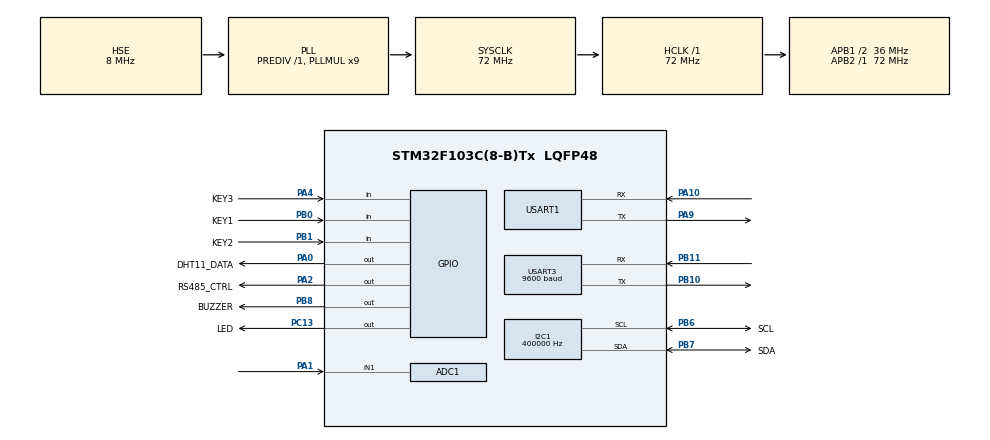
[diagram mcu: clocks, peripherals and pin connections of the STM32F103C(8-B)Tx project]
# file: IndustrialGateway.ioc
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ADC1.Channel-2\#ChannelRegularConversion=ADC_CHANNEL_1
ADC1.NbrOfConversionFlag=1
ADC1.Rank-2\#ChannelRegularConversion=1
ADC1.SamplingTime-2\#ChannelRegularConversion=ADC_SAMPLETIME_239CYCLES_5
ADC1.master=1
Dma.Request0=USART1_RX
Dma.Request1=USART1_TX
Dma.Request2=USART3_RX
Dma.USART1_RX.0.Direction=DMA_PERIPH_TO_MEMORY
Dma.USART1_RX.0.Instance=DMA1_Channel5
Dma.USART1_RX.0.MemDataAlignment=DMA_MDATAALIGN_BYTE
Dma.USART1_RX.0.MemInc=DMA_MINC_ENABLE
Dma.USART1_RX.0.Mode=DMA_CIRCULAR
Dma.USART1_RX.0.PeriphDataAlignment=DMA_PDATAALIGN_BYTE
Dma.USART1_RX.0.PeriphInc=DMA_PINC_DISABLE
Dma.USART1_RX.0.Priority=DMA_PRIORITY_LOW
Dma.USART1_TX.1.Direction=DMA_MEMORY_TO_PERIPH
Dma.USART1_TX.1.Instance=DMA1_Channel4
Dma.USART1_TX.1.MemDataAlignment=DMA_MDATAALIGN_BYTE
Dma.USART1_TX.1.MemInc=DMA_MINC_ENABLE
Dma.USART1_TX.1.Mode=DMA_NORMAL
Dma.USART1_TX.1.PeriphDataAlignment=DMA_PDATAALIGN_BYTE
Dma.USART1_TX.1.PeriphInc=DMA_PINC_DISABLE
Dma.USART1_TX.1.Priority=DMA_PRIORITY_LOW
Dma.USART3_RX.2.Direction=DMA_PERIPH_TO_MEMORY
Dma.USART3_RX.2.Instance=DMA1_Channel3
Dma.USART3_RX.2.MemDataAlignment=DMA_MDATAALIGN_BYTE
Dma.USART3_RX.2.MemInc=DMA_MINC_ENABLE
Dma.USART3_RX.2.Mode=DMA_NORMAL
Dma.USART3_RX.2.PeriphDataAlignment=DMA_PDATAALIGN_BYTE
Dma.USART3_RX.2.PeriphInc=DMA_PINC_DISABLE
Dma.USART3_RX.2.Priority=DMA_PRIORITY_LOW
FREERTOS.Tasks01=defaultTask,0,128,StartDefaultTask,Default,NULL,Dynamic,NULL,NULL;SensorTask,-1,512,StartSensorTask,Default,NULL,Dynamic,NULL,NULL;ModbusTask,1,384,StartModbusTask,Default,NULL,Dynamic,NULL,NULL;AlarmTask,2,256,StartAlarmTask,Default,NULL,Dynamic,NULL,NULL;DisplayTask,-2,512,StartDisplayTask,Default,NULL,Dynamic,NULL,NULL;KeyScanTask,-2,128,StartKeyScanTask,Default,NULL,Dynamic,NULL,NULL;LogTask,-2,128,StartLogTask,Default,NULL,Dynamic,NULL,NULL
FREERTOS.configTOTAL_HEAP_SIZE=12000
I2C1.ClockSpeed=400000
I2C1.I2C_Mode=I2C_Fast
Mcu.Family=STM32F1
Mcu.Name=STM32F103C(8-B)Tx
Mcu.Package=LQFP48
NVIC.DMA1_Channel3_IRQn=true\:5\:0\:false\:false\:true\:true\:false\:true\:true
NVIC.DMA1_Channel4_IRQn=true\:5\:0\:false\:false\:true\:true\:false\:true\:true
NVIC.DMA1_Channel5_IRQn=true\:5\:0\:false\:false\:true\:true\:false\:true\:true
NVIC.PriorityGroup=NVIC_PRIORITYGROUP_4
NVIC.TIM4_IRQn=true\:15\:0\:false\:false\:true\:false\:false\:true\:true
NVIC.TimeBase=TIM4_IRQn
NVIC.TimeBaseIP=TIM4
NVIC.USART3_IRQn=true\:5\:0\:false\:false\:true\:true\:true\:true\:true
PA0-WKUP.GPIO_Label=DHT11_DATA
PA0-WKUP.GPIO_ModeDefaultOutputPP=GPIO_MODE_OUTPUT_OD
PA0-WKUP.GPIO_PuPd=GPIO_PULLUP
PA0-WKUP.GPIO_Speed=GPIO_SPEED_FREQ_LOW
PA0-WKUP.PinState=GPIO_PIN_SET
PA0-WKUP.Signal=GPIO_Output
PA1.Signal=ADCx_IN1
PA10.Mode=Asynchronous
PA10.Signal=USART1_RX
PA13.Mode=Serial_Wire
PA13.Signal=SYS_JTMS-SWDIO
PA14.Mode=Serial_Wire
PA14.Signal=SYS_JTCK-SWCLK
PA2.GPIO_Label=RS485_CTRL
PA2.Signal=GPIO_Output
PA4.GPIO_Label=KEY3
PA4.GPIO_PuPd=GPIO_PULLUP
PA4.Signal=GPIO_Input
PA9.Mode=Asynchronous
PA9.Signal=USART1_TX
PB0.GPIO_Label=KEY1
PB0.GPIO_PuPd=GPIO_PULLUP
PB0.Signal=GPIO_Input
PB1.GPIO_Label=KEY2
PB1.GPIO_PuPd=GPIO_PULLUP
PB1.Signal=GPIO_Input
PB10.Mode=Asynchronous
PB10.Signal=USART3_TX
PB11.Mode=Asynchronous
PB11.Signal=USART3_RX
PB6.GPIO_Label=SCL
PB6.Mode=I2C
PB6.Signal=I2C1_SCL
PB7.GPIO_Label=SDA
PB7.Mode=I2C
PB7.Signal=I2C1_SDA
PB8.GPIO_Label=BUZZER
PB8.PinState=GPIO_PIN_SET
PB8.Signal=GPIO_Output
PC13-TAMPER-RTC.GPIO_Label=LED
PC13-TAMPER-RTC.PinState=GPIO_PIN_RESET
PC13-TAMPER-RTC.Signal=GPIO_Output
PD0-OSC_IN.Mode=HSE-External-Oscillator
PD0-OSC_IN.Signal=RCC_OSC_IN
PD1-OSC_OUT.Mode=HSE-External-Oscillator
PD1-OSC_OUT.Signal=RCC_OSC_OUT
ProjectManager.HeapSize=0x200
ProjectManager.StackSize=0x400
ProjectManager.TargetToolchain=STM32CubeIDE
RCC.ADCPresc=RCC_ADCPCLK2_DIV6
RCC.AHBFreq_Value=72000000
RCC.APB1CLKDivider=RCC_HCLK_DIV2
RCC.APB1Freq_Value=36000000
RCC.APB1TimFreq_Value=72000000
RCC.APB2Freq_Value=72000000
RCC.APB2TimFreq_Value=72000000
RCC.HCLKFreq_Value=72000000
RCC.PLLMUL=RCC_PLL_MUL9
RCC.PLLSourceVirtual=RCC_PLLSOURCE_HSE
RCC.SYSCLKFreq_VALUE=72000000
RCC.SYSCLKSource=RCC_SYSCLKSOURCE_PLLCLK
RCC.USBFreq_Value=72000000
SH.ADCx_IN1.0=ADC1_IN1,IN1
USART1.VirtualMode=VM_ASYNC
USART3.BaudRate=9600
USART3.VirtualMode=VM_ASYNC
VP_FREERTOS_VS_CMSIS_V1.Mode=CMSIS_V1
VP_SYS_VS_tim4.Mode=TIM4
board=custom

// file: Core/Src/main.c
/* USER CODE BEGIN Header */
/**
  ******************************************************************************
  * @file           : main.c
  * @brief          : Main program body
  ******************************************************************************
  * @attention
  *
  * Copyright (c) 2026 STMicroelectronics.
  * All rights reserved.
  *
  * This software is licensed under terms that can be found in the LICENSE file
  * in the root directory of this software component.
  * If no LICENSE file comes with this software, it is provided AS-IS.
  *
  ******************************************************************************
  */
/* USER CODE END Header */
#include "main.h"
#include "cmsis_os.h"
#include "adc.h"
#include "dma.h"
#include "i2c.h"
#include "usart.h"
#include "gpio.h"
#include "debug_log.h"
/* USER CODE BEGIN Includes */
#include "drv_uart_dma.h"
/* USER CODE END Includes */

void SystemClock_Config(void);
void MX_FREERTOS_Init(void);

int main(void)
{

  /* MCU Configuration--------------------------------------------------------*/

  /* Reset of all peripherals, Initializes the Flash interface and the Systick. */
  HAL_Init();

  /* Configure the system clock */
  SystemClock_Config();

  /* Initialize all configured peripherals */
  MX_GPIO_Init();
  MX_DMA_Init();
  MX_ADC1_Init();
  MX_USART1_UART_Init();
  Debug_Log_Init();
  HAL_Delay(1000);
  MX_I2C1_Init();
  MX_USART3_UART_Init();
  /* USER CODE BEGIN 2 */
  HAL_GPIO_WritePin(GPIOA, GPIO_PIN_2, GPIO_PIN_RESET);
  drv_uart3_dma_init();
  /* USER CODE END 2 */

  /* Call init function for freertos objects (in cmsis_os2.c) */
  MX_FREERTOS_Init();

  /* Start scheduler */
  osKernelStart();

  /* We should never get here as control is now taken by the scheduler */

  /* Infinite loop */
  while (1)
  {

  }
}

void SystemClock_Config(void)
{
  RCC_OscInitTypeDef RCC_OscInitStruct = {0};
  RCC_ClkInitTypeDef RCC_ClkInitStruct = {0};
  RCC_PeriphCLKInitTypeDef PeriphClkInit = {0};

  /** Initializes the RCC Oscillators according to the specified parameters
  * in the RCC_OscInitTypeDef structure.
  */
  RCC_OscInitStruct.OscillatorType = RCC_OSCILLATORTYPE_HSE;
  RCC_OscInitStruct.HSEState = RCC_HSE_ON;
  RCC_OscInitStruct.HSEPredivValue = RCC_HSE_PREDIV_DIV1;
  RCC_OscInitStruct.HSIState = RCC_HSI_ON;
  RCC_OscInitStruct.PLL.PLLState = RCC_PLL_ON;
  RCC_OscInitStruct.PLL.PLLSource = RCC_PLLSOURCE_HSE;
  RCC_OscInitStruct.PLL.PLLMUL = RCC_PLL_MUL9;
  if (HAL_RCC_OscConfig(&RCC_OscInitStruct) != HAL_OK)
  {
    Error_Handler();
  }

  /** Initializes the CPU, AHB and APB buses clocks
  */
  RCC_ClkInitStruct.ClockType = RCC_CLOCKTYPE_HCLK|RCC_CLOCKTYPE_SYSCLK
                              |RCC_CLOCKTYPE_PCLK1|RCC_CLOCKTYPE_PCLK2;
  RCC_ClkInitStruct.SYSCLKSource = RCC_SYSCLKSOURCE_PLLCLK;
  RCC_ClkInitStruct.AHBCLKDivider = RCC_SYSCLK_DIV1;
  RCC_ClkInitStruct.APB1CLKDivider = RCC_HCLK_DIV2;
  RCC_ClkInitStruct.APB2CLKDivider = RCC_HCLK_DIV1;

  if (HAL_RCC_ClockConfig(&RCC_ClkInitStruct, FLASH_LATENCY_2) != HAL_OK)
  {
    Error_Handler();
  }
  PeriphClkInit.PeriphClockSelection = RCC_PERIPHCLK_ADC;
  PeriphClkInit.AdcClockSelection = RCC_ADCPCLK2_DIV6;
  if (HAL_RCCEx_PeriphCLKConfig(&PeriphClkInit) != HAL_OK)
  {
    Error_Handler();
  }
}

void HAL_TIM_PeriodElapsedCallback(TIM_HandleTypeDef *htim)
{
  if (htim->Instance == TIM4)
  {
    HAL_IncTick();
  }
}

void Error_Handler(void)
{
  __disable_irq();
  while (1)
  {
  }
}

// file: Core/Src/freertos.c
/* USER CODE BEGIN Header */
/**
  ******************************************************************************
  * File Name          : freertos.c
  * Description        : Code for freertos applications
  ******************************************************************************
  * @attention
  *
  * Copyright (c) 2026 STMicroelectronics.
  * All rights reserved.
  *
  * This software is licensed under terms that can be found in the LICENSE file
  * in the root directory of this software component.
  * If no LICENSE file comes with this software, it is provided AS-IS.
  *
  ******************************************************************************
  */
/* USER CODE END Header */

#include "FreeRTOS.h"
#include "task.h"
#include "main.h"
#include "cmsis_os.h"

/* USER CODE BEGIN Includes */
#include "gpio.h"
#include <stdio.h>
#include <string.h>
#include "usart.h"
#include "dht11.h"
#include "mq2.h"
#include <stdio.h>
#include"ssd1306.h"
#include "drv_uart_dma.h"
#include "modbus_service.h"
#include "drv_key.h"
#include "ringbuffer.h"
#include "storage_service.h"
#include "cmd_parser.h"
#include "filter.h"
#include "debug_log.h"
/* USER CODE END Includes */

/* USER CODE BEGIN Variables */
osThreadId ledTaskHandle;
// 传感器数据结构体

// 【Modbus DMA 接收信号量】
// 作用：这是一个二值信号量，相当于一把“起跑枪”。
// 初始状态：为空（0）。
// 触发机制：当串口3发生 IDLE 空闲中断时，中断服务函数会释放（Give）这个信号量。
// 响应机制：ModbusTask 一直在阻塞等待（Take）这个信号量，一旦拿到，立刻醒来处理数据。
SemaphoreHandle_t xModbusRxSemaphore = NULL;

// 🟢 引入我们在 drv_uart_dma.c 里定义的接收仓库和长度
extern uint8_t Modbus_RxBuf[128];
extern uint16_t Modbus_RxLen;
SensorData_t g_LatestSensorData = {0.0, 0.0, 0.0, 0};
typedef enum {
    KEY_NONE = 0,
    KEY_PAGE_SWITCH, // 按键1：页面切换
    KEY_PLUS,        // 按键2：数值加/上移
    KEY_MINUS        // 按键3：数值减/下移
} KeyEvent_e;

// 🟢 新增：保护日志读写的互斥锁
SemaphoreHandle_t xLogMutex = NULL;

// 🟢 补上缺失的：按键消息队列句柄
QueueHandle_t xKeyQueue;
// 队列句柄
QueueHandle_t xSensorQueue;

// 事件组句柄
EventGroupHandle_t xAlarmEventGroup;

// 事件位定义
//// 定义两盏专属的“报警灯”（在 24 个可用位中，我们挑了第0位和第1位）
#define BIT_TEMP_HIGH   (1 << 0)
#define BIT_SMOKE_HIGH  (1 << 1)
/* USER CODE END Variables */
osThreadId defaultTaskHandle;
osThreadId SensorTaskHandle;
osThreadId ModbusTaskHandle;
osThreadId AlarmTaskHandle;
osThreadId DisplayTaskHandle;
osThreadId KeyScanTaskHandle;
osThreadId LogTaskHandle;

/* USER CODE BEGIN FunctionPrototypes */
void StartLEDTask(void const * argument);
void StartUARTTask(void const * argument);
/* USER CODE END FunctionPrototypes */

void StartDefaultTask(void const * argument);
void StartSensorTask(void const * argument);
void StartModbusTask(void const * argument);
void StartAlarmTask(void const * argument);
void StartDisplayTask(void const * argument);
void StartKeyScanTask(void const * argument);
void StartLogTask(void const * argument);

void MX_FREERTOS_Init(void); /* (MISRA C 2004 rule 8.1) */

/* GetIdleTaskMemory prototype (linked to static allocation support) */
void vApplicationGetIdleTaskMemory( StaticTask_t **ppxIdleTaskTCBBuffer, StackType_t **ppxIdleTaskStackBuffer, uint32_t *pulIdleTaskStackSize );

/* USER CODE BEGIN GET_IDLE_TASK_MEMORY */
static StaticTask_t xIdleTaskTCBBuffer;
static StackType_t xIdleStack[configMINIMAL_STACK_SIZE];

void vApplicationGetIdleTaskMemory( StaticTask_t **ppxIdleTaskTCBBuffer, StackType_t **ppxIdleTaskStackBuffer, uint32_t *pulIdleTaskStackSize )
{
  *ppxIdleTaskTCBBuffer = &xIdleTaskTCBBuffer;
  *ppxIdleTaskStackBuffer = &xIdleStack[0];
  *pulIdleTaskStackSize = configMINIMAL_STACK_SIZE;
  /* place for user code */
}
/* USER CODE END GET_IDLE_TASK_MEMORY */

void MX_FREERTOS_Init(void) {
  /* USER CODE BEGIN Init */
	HAL_Delay(500);
	Storage_Init();
	// 🟢 系统上电第一件事：强行把蜂鸣器引脚拉高，保证初始状态是安静的！
	  HAL_GPIO_WritePin(GPIOB, GPIO_PIN_8, GPIO_PIN_SET);
  /* USER CODE END Init */

  /* USER CODE BEGIN RTOS_MUTEX */
  /* add mutexes, ... */
	xLogMutex = xSemaphoreCreateMutex();
	  if (xLogMutex == NULL) {
	      for(;;); // 如果内存不足创建失败，直接卡死报错
	  }
  /* USER CODE END RTOS_MUTEX */

  /* USER CODE BEGIN RTOS_SEMAPHORES */
  /* add semaphores, ... */
	xModbusRxSemaphore = xSemaphoreCreateBinary();
  /* USER CODE END RTOS_SEMAPHORES */

  /* USER CODE BEGIN RTOS_QUEUES */
	// 创建队列，最多存放5个传感器数据
	xSensorQueue = xQueueCreate(5, sizeof(SensorData_t));
	if (xSensorQueue == NULL) {
	    // 处理错误，例如死循环
	    for(;;);
	}
	xKeyQueue = xQueueCreate(5, sizeof(KeyEvent_e));
	// 创建事件组
	xAlarmEventGroup = xEventGroupCreate();
	if (xAlarmEventGroup == NULL) {
	    for(;;);
	}

  /* add queues, ... */
  /* USER CODE END RTOS_QUEUES */

  /* Create the thread(s) */
  /* definition and creation of defaultTask */
  osThreadDef(defaultTask, StartDefaultTask, osPriorityNormal, 0, 128);
  defaultTaskHandle = osThreadCreate(osThread(defaultTask), NULL);

  /* definition and creation of SensorTask */
  osThreadDef(SensorTask, StartSensorTask, osPriorityBelowNormal, 0, 512);
  SensorTaskHandle = osThreadCreate(osThread(SensorTask), NULL);

  /* definition and creation of ModbusTask */
  osThreadDef(ModbusTask, StartModbusTask, osPriorityAboveNormal, 0, 384);
  ModbusTaskHandle = osThreadCreate(osThread(ModbusTask), NULL);

  /* definition and creation of AlarmTask */
  osThreadDef(AlarmTask, StartAlarmTask, osPriorityHigh, 0, 256);
  AlarmTaskHandle = osThreadCreate(osThread(AlarmTask), NULL);

  /* definition and creation of DisplayTask */
  osThreadDef(DisplayTask, StartDisplayTask, osPriorityLow, 0, 512);
  DisplayTaskHandle = osThreadCreate(osThread(DisplayTask), NULL);

  /* definition and creation of KeyScanTask */
  osThreadDef(KeyScanTask, StartKeyScanTask, osPriorityLow, 0, 256);
  KeyScanTaskHandle = osThreadCreate(osThread(KeyScanTask), NULL);

  /* definition and creation of LogTask */
  osThreadDef(LogTask, StartLogTask, osPriorityLow, 0, 256);
  LogTaskHandle = osThreadCreate(osThread(LogTask), NULL);

  /* USER CODE BEGIN RTOS_THREADS */
  /* add threads, ... */
  //osThreadDef(LEDTask, StartLEDTask, osPriorityNormal, 0, 128);
   //ledTaskHandle = osThreadCreate(osThread(LEDTask), NULL);
    // osThreadDef(UARTTask, StartUARTTask, osPriorityLow, 0, 512);
     //osThreadCreate(osThread(UARTTask), NULL);
  /* USER CODE END RTOS_THREADS */

}

void StartDefaultTask(void const * argument)
{
  for(;;)
  {
    osDelay(1);
  }
}

void StartSensorTask(void const * argument)
{
  /* USER CODE BEGIN StartSensorTask */
  float temp, humi, smoke;//原始数据
  SensorData_t data;

  // 🟢 给 DHT11 分配中值滤波器
  MedianFilter_t temp_filter, humi_filter;
  MedianFilter_Init(&temp_filter);
  MedianFilter_Init(&humi_filter);

  // 🟢 给 MQ-2 烟雾分配一阶低通滤波器 (取 0.3 的滤波系数，兼顾平滑与响应)
  EmaFilter_t smoke_filter;
  EmaFilter_Init(&smoke_filter, 0.3f);

  for(;;)
  {
      uint8_t ret = DHT11_Read_Data(&temp, &humi);
      smoke = MQ2_GetGasConcentration();

      if (ret == 0) {
          // 经过工业级滤波洗礼
          data.temperature = MedianFilter_Process(&temp_filter, temp);
          data.humidity = MedianFilter_Process(&humi_filter, humi);
          data.smoke = EmaFilter_Process(&smoke_filter, smoke);
      } else {
          osDelay(500);
          continue;
      }
      data.timestamp = xTaskGetTickCount();
      //将装满温湿度和烟雾数据的结构体，塞进信箱
      xQueueSend(xSensorQueue, &data, 0);

      // 工业常规采样率：500ms
      osDelay(500);
  }
  /* USER CODE END StartSensorTask */
}

void StartModbusTask(void const * argument)
{
  /* USER CODE BEGIN StartModbusTask */
  Debug_Printf("ModbusTask Started! Architecture Upgraded.\r\n");

  // 任务内部准备一个局部数组，用来存放从传送带捞下来的数据
  //任务一醒来，第一件事就是用最快的速度把数据拷贝到自己私有的局部数组里，然后再慢慢做复杂的协议解析。这叫“数据解耦”。
  uint8_t local_frame_buf[128];
  uint16_t local_len = 0;

  for(;;)
  {
      // 1. 状态机：空闲等待中
      g_CommState = COMM_IDLE;

      // 2. 阻塞等待 DMA+IDLE 中断发来的信号量
      //这行代码会一直休眠。是谁把它叫醒的？是单片机的串口空闲中断（IDLE Interrupt）。当外部电脑发完一帧 Modbus 数据，串口总线上安静了超过 1 个字节的时间，单片机硬件就会触发空闲中断。
      //在中断服务函数（ISR）里，会调用 xSemaphoreGiveFromISR 释放信号量，瞬间唤醒这个任务。
      if (xSemaphoreTake(xModbusRxSemaphore, portMAX_DELAY) == pdTRUE)
      {
          // 3. 状态机：进入处理状态
          g_CommState = COMM_PROCESSING;

          // 4. 从环形缓冲区捞出刚才 DMA 塞进去的所有数据
          local_len = drv_uart_read_ringbuffer(local_frame_buf, sizeof(local_frame_buf));

          if (local_len > 0)
          {
              Debug_Printf("\r\n[ModbusTask] 从 RingBuffer 提取到 %d 字节.\r\n", local_len);

              // 5. 移交解析核心（如果解析发现 CRC 错误，可以在解析函数里把状态机切成 COMM_ERROR [cite: 24]）
              Modbus_Parse_Frame(local_frame_buf, local_len);
          }
      }
  }
  /* USER CODE END StartModbusTask */
}

void StartAlarmTask(void const * argument)
{
  /* USER CODE BEGIN StartAlarmTask */

  // 1. 任务启动前，强制清空所有意外产生的报警标志，确保“干干净净”地开局
	//把第 0 位和第 1 位强制写为 0
  xEventGroupClearBits(xAlarmEventGroup, BIT_TEMP_HIGH | BIT_SMOKE_HIGH);
//uxBits：定义一个专门存事件状态的变量，用来接收系统唤醒你时，到底是哪几盏灯亮了。
  EventBits_t uxBits;
  //xTicksToWait：定义一个常量，portMAX_DELAY 在 FreeRTOS 里代表“无限期死等”，也就是不等到灯亮，这个任务永远不占用 CPU。
  const TickType_t xTicksToWait = portMAX_DELAY;

  for(;;)
  {
      // 2. 阻塞等待温度或烟雾超标事件
	  //函数作用：让当前任务进入睡眠状态，直到指定的事件位被置 1 才醒来。
	  //参数 1 xAlarmEventGroup：你要盯着的事件组。
	  //参数 2 BIT_TEMP_HIGH | BIT_SMOKE_HIGH (0000 0011)：你具体要盯着哪几个位。
	  //参数 3 pdTRUE (退出时是否清零)：设置为 TRUE。意味着只要灯亮了把你叫醒，系统会自动帮你把灯关掉（清 0）。这样你就不用手动写代码去清除了。
	  //参数 4 pdFALSE (触发逻辑，极度重要)：
	  //如果是 pdTRUE：表示逻辑与(AND)，必须温度和烟雾同时超标，才会唤醒。
	  //我们设为 pdFALSE：表示逻辑或(OR)，只要其中任何一个超标，立刻唤醒。
	  //参数 5 xTicksToWait：上面定义的死等参数。
      uxBits = xEventGroupWaitBits(
                  xAlarmEventGroup,
                  BIT_TEMP_HIGH | BIT_SMOKE_HIGH,
                  pdTRUE,
                  pdFALSE,
                  xTicksToWait );

      // 3. 只要收到事件，执行最终的“双重核实”
      if( ( uxBits & (BIT_TEMP_HIGH | BIT_SMOKE_HIGH) ) != 0 )
      {
          // 实时计算当前系统要求的阈值
          float temp_threshold = g_AppParam.temp_high_limit / 10.0f;
          float smoke_threshold = g_AppParam.smoke_high_limit;

          // 再次核实当前传感器数据确实超标，防止被其他意外置位误导
          if (g_LatestSensorData.temperature > temp_threshold ||
              g_LatestSensorData.smoke > smoke_threshold)
          {
        	  Debug_Printf("🚨 触发报警！当前温度: %d.%d, 烟雾: %d\r\n",
        	                       (int)g_LatestSensorData.temperature,
        	                       (int)(g_LatestSensorData.temperature * 10) % 10,
        	                       (int)g_LatestSensorData.smoke);

              // 滴-滴-滴 声光报警控制逻辑 (低电平触发)
              for(int i = 0; i < 3; i++)
              {
                  // 响！(拉低引脚)
                  HAL_GPIO_WritePin(GPIOB, GPIO_PIN_8, GPIO_PIN_RESET);
                  HAL_GPIO_WritePin(GPIOC, GPIO_PIN_13, GPIO_PIN_RESET);
                  osDelay(200);

                  // 停！(拉高引脚)
                  HAL_GPIO_WritePin(GPIOB, GPIO_PIN_8, GPIO_PIN_SET);
                  HAL_GPIO_WritePin(GPIOC, GPIO_PIN_13, GPIO_PIN_SET);
                  osDelay(200);
              }

              // 报警周期结束后强制冷静 2 秒，避免系统被蜂鸣器中断死锁
              osDelay(2000);
          }
      }
  }
  /* USER CODE END StartAlarmTask */
}

void StartDisplayTask(void const * argument)
{
  /* USER CODE BEGIN StartDisplayTask */
  SensorData_t data;
  KeyEvent_e keyEvent;

  uint8_t current_page = 0; // 0:主界面, 1:详情页, 2:配置页
  osDelay(1500);
  SSD1306_Init();
  SSD1306_Clear();

  for(;;)
  {
      // 1. 非阻塞读取按键队列 (换页与加减)
	  //这是 FreeRTOS 专门用来从队列中提取数据的 API。它不仅会把数据读出来，还会把读过的数据从队列中彻底删掉
	  //xKeyQueue (目标信箱)
	  //对应发送端： 邮递员往哪个信箱塞信。
	  //在这里的作用： 告诉操作系统，屏幕刷新任务要去哪一个信箱里拿信。必须要和按键任务塞的是同一个 xKeyQueue，否则就拿错信了。
	 // &keyEvent (拆信的托盘/接收变量)
	  //对应发送端： &queueMsg 是信的原文地址（系统把它复印进信箱）。
	  //在这里的作用： 这是一个定义在屏幕任务里的局部变量的内存地址。当操作系统发现信箱里有信时，它会把信箱里存放的枚举值（比如 KEY_PAGE_SWITCH），原封不动地复制到 keyEvent 这个变量里。
	  //结果： 执行完这句代码后，你的 keyEvent 变量里就真正装上了用户刚才按下的按键代号，你就可以拿着它去写 if-else 来切页面了。
	  //0 (阻塞超时时间)
	  //对应发送端： 发送端的 0 意思是“信箱满了我不等，信扔了直接走”。
	  //在这里的作用： 这里的 0 意思是“信箱空了我绝对不傻等，立刻回去干别的工作”。这就是所谓的非阻塞读取。
	  //返回值判定： * 如果拿到信了，函数返回 pdTRUE，进入 if 里面去切换页面。
	  //如果信箱是空的（没人按按键），函数立刻返回 pdFALSE，直接跳过按键处理逻辑。
      if (xQueueReceive(xKeyQueue, &keyEvent, 0) == pdTRUE)
      {
          if (keyEvent == KEY_PAGE_SWITCH) {
              // 【核心联动】：如果当前是配置页，按下切换键离开时，执行保存逻辑！
              if (current_page == 2) {
                  Storage_Save(); // 写入 Flash！
            	 // Debug_Printf("[TEST] Skip Storage_Save()\r\n");
              }
              current_page = (current_page + 1) % 3;
              SSD1306_Clear();
          }
          else if (keyEvent == KEY_PLUS && current_page == 2) {
              g_AppParam.temp_high_limit += 10; // 加 1.0 度
              SSD1306_Clear();
          }
          else if (keyEvent == KEY_MINUS && current_page == 2) {
              g_AppParam.temp_high_limit -= 10; // 减 1.0 度
              SSD1306_Clear();
          }
      }

      // 2. 非阻塞读取传感器队列 (更新最新数据并判断报警)
      if (xQueueReceive(xSensorQueue, &data, 0) == pdTRUE) {
          g_LatestSensorData = data;

          // ================= [防抖判定 1：温度使用"死区回差法" + 电平触发] =================
          static uint8_t is_temp_alarming = 0; // 记录当前状态
          float temp_threshold = g_AppParam.temp_high_limit / 10.0f;
          float deadband = 0.5f; // 0.5度的死区

          if (!is_temp_alarming) {
              // 没报警时，必须越过 (阈值 + 死区) 才进入报警状态
              if (data.temperature > (temp_threshold + deadband)) {
                  is_temp_alarming = 1;
              }
          } else {
              // 报警中时，必须降到 (阈值 - 死区) 以下才安全解除
              if (data.temperature < (temp_threshold - deadband)) {
                  is_temp_alarming = 0;
                  xEventGroupClearBits(xAlarmEventGroup, BIT_TEMP_HIGH); // 安全解除
              }
          }

          // 🟢 核心改动 1：只要处于报警状态，持续推送事件位！(不听话就一直叫)
          if (is_temp_alarming) {
              xEventGroupSetBits(xAlarmEventGroup, BIT_TEMP_HIGH);
          }

          // ================= [防抖判定 2：烟雾使用"时间确认窗法" + 电平触发] =================
          static uint8_t smoke_over_count = 0; // 超标计数器
          float smoke_threshold = g_AppParam.smoke_high_limit;

          if (data.smoke > smoke_threshold) {
              smoke_over_count++;
              // 连续 4 次 (4 * 500ms = 2秒) 持续超标，才确认是真的火灾！
              if (smoke_over_count >= 4) {
                  smoke_over_count = 4; // 防止溢出
                  // 🟢 核心改动 2：只要确认为火灾，持续推送事件位！(电平触发)
                  xEventGroupSetBits(xAlarmEventGroup, BIT_SMOKE_HIGH);
              }
          } else {
              // 只要中间有一次低于阈值，立刻清零计数器，彻底解除警报！
              smoke_over_count = 0;
              xEventGroupClearBits(xAlarmEventGroup, BIT_SMOKE_HIGH);
          }
      }

      // 3. UI 渲染
     // SSD1306_Clear();
      SSD1306_GotoXY(0, 0);
      switch(current_page)
      {
          case 0:
              SSD1306_Puts("- MAIN -\n");
              SSD1306_Puts("T:");
              SSD1306_PrintFloat(g_LatestSensorData.temperature);
              SSD1306_Puts("C\n");
              SSD1306_Puts("H:");
              SSD1306_PrintFloat(g_LatestSensorData.humidity);
              SSD1306_Puts("%\n");
              break;
          case 1:
              SSD1306_Puts("- DETAILS -\n");
              SSD1306_Puts("Gas:"); SSD1306_PrintFloat(g_LatestSensorData.smoke);

              // 动态读取当前的报警标志位
              if (xEventGroupGetBits(xAlarmEventGroup) != 0) {
                  SSD1306_Puts("\nSts: ALARM!\n"); // 有任何超标，显示 ALARM
              } else {
                  SSD1306_Puts("\nSts: OK\n");     // 一切正常，显示 OK
              }
              break;
          case 2:
              SSD1306_Puts("- CONFIG -\n");
              SSD1306_Puts("T_ALARM:\n> ");
              SSD1306_PrintFloat(g_AppParam.temp_high_limit / 10.0f); // 显示真实参数
              SSD1306_Puts(" C\n");
              break;
      }
      SSD1306_Update();

      // 配合屏幕刷新率，这里延时200ms
      osDelay(200);
  }
  /* USER CODE END StartDisplayTask */
}

//设计思路：如果不把按键独立成任务，而是裸写在主循环或利用外部中断，极易因为按键抖动导致 CPU 频繁误触发，或者在长按时卡死其他逻辑。
//该任务以 20ms 为周期轮询，配合状态机消抖，既保证了按键的丝滑响应，又做到了完全不占用多余的 CPU。
void StartKeyScanTask(void const * argument)
{
  /* USER CODE BEGIN StartKeyScanTask */
  drv_Key_Init();
  KeyEvent_e queueMsg;

  for(;;)
  {
      drv_Key_Scan(); // 运行一次状态机

      if (Key1_GetEvent() == KEY_EVENT_PRESS)
      {
          queueMsg = KEY_PAGE_SWITCH;
          //xQueueSend 向队列（Queue）中发送数据。
          //xKeyQueue 告诉操作系统，你要把数据塞进哪一个队列里。
          //&queueMsg (信件内容)
          //0 (阻塞超时时间) 填 0 意味着非阻塞发送。
          //在 RTOS 的经典架构中，这叫 “生产者 - 消费者” 模型。
          //StartKeyScanTask 是生产者：它只管无脑地扫描硬件，发现了动作就往 xKeyQueue 里狂塞数据。
          //StartDisplayTask 是消费者：它就是那个一直在查询（掏信箱）的任务！
          xQueueSend(xKeyQueue, &queueMsg, 0);
          Debug_Printf("[KeyTask] 按键1: 切换页面\r\n");
          Key1_ClearEvent(); // 清除标志
      }

      if (Key2_GetEvent() == KEY_EVENT_PRESS)
      {
          queueMsg = KEY_PLUS;
          xQueueSend(xKeyQueue, &queueMsg, 0);
          Debug_Printf("[KeyTask] 按键2: PLUS\r\n");
          Key2_ClearEvent();
      }

      if (Key3_GetEvent() == KEY_EVENT_PRESS)
      {
          queueMsg = KEY_MINUS;
          xQueueSend(xKeyQueue, &queueMsg, 0);
          Debug_Printf("[KeyTask] 按键3: MINUS\r\n");
          Key3_ClearEvent();
      }

      osDelay(20); // 配合消抖时间，完美轮询
  }
  /* USER CODE END StartKeyScanTask */
}

void StartLogTask(void const * argument)
{
  /* USER CODE BEGIN StartLogTask */
  SensorData_t logData;

  for(;;)
  {
      // 1. 获取系统当前的最新一帧传感器数据
      logData = g_LatestSensorData;

      // 2. 打上当前系统的 Tick 作为时间戳
      logData.timestamp = xTaskGetTickCount();

      // 3. 安全地写入环形缓冲区 (内部已加互斥锁)
      RingBuffer_Write(&logData);

      // 测试打印 (调试确认没问题后可以屏蔽这句)
      Debug_Printf("[LogTask] 记录历史数据 1 条，当前Tick: %lu\r\n", logData.timestamp);

      // 4. 任务运行周期：1 秒 (1000ms)
      osDelay(1000);
  }
  /* USER CODE END StartLogTask */
}

/* USER CODE BEGIN Application */
#if 0
void StartLEDTask(void const * argument)
{
  for(;;)
  {
    HAL_GPIO_TogglePin(GPIOC, GPIO_PIN_13);
    osDelay(1000);
  }
}
#endif
void StartUARTTask(void const * argument)
{
  /* USER CODE BEGIN StartUARTTask */
  uint8_t rx_byte;//暂存单字符
  char cmd_buffer[64];//准备好的局部字符串数组（缓冲区）。最大能装 64 个字符。
  uint8_t cmd_idx = 0;//：数组的索引/游标。记录当前“篮子”里已经装了几个字符了

  Debug_Printf("\r\n=== UART Task Ready (Bulletproof Mode) ===\r\n");

  // 1. 🟢 强制解锁，打碎所有初始卡死的可能！
  huart1.Lock = HAL_UNLOCKED;
  __HAL_UART_CLEAR_OREFLAG(&huart1);
  huart1.ErrorCode = HAL_UART_ERROR_NONE;
  huart1.RxState = HAL_UART_STATE_READY;

  for(;;)
  {
      // 2. 挂起任务，死等第 1 个字符 (此时不占用任何 CPU，按键无比丝滑)
	  //HAL_UART_Receive：STM32 官方提供的阻塞式串口接收函数。
	  //参数 1 &huart1：传入串口 1 的配置句柄指针。
	  //参数 2 &rx_byte：告诉函数，收到数据后存到 rx_byte 这个变量的内存地址里。
	  //参数 3 1：期待接收的数据长度。这里写 1，代表只等 1 个字符。
	  //参数 4 portMAX_DELAY：【灵魂参数】这是 FreeRTOS 的宏。它告诉操作系统：“如果没收到这 1 个字，就把这个任务永远踢出 CPU 去休眠睡觉”。这保证了串口空闲时，毫不拖累你的按键和传感器任务。
	  //逻辑：只有当真正的字符到来，且函数返回 HAL_OK 时，才会往下执行。
      if (HAL_UART_Receive(&huart1, &rx_byte, 1, portMAX_DELAY) == HAL_OK)
      {
          // 3. 🟢 只要收到新字符，强制清空旧的乱码残骸！绝不缝合！
          cmd_idx = 0;

          if (rx_byte >= 32 && rx_byte <= 126) {
              cmd_buffer[cmd_idx++] = rx_byte;
          }

          // 4. 🟢 核心黑科技：既然电脑开始发数据了，立刻绕过 RTOS，全速抓取剩余字符！
          //设计逻辑：既然对方已经开口说话了（发了第一个字），后续的字肯定会以微秒级的间隔接踵而至。
          //这时候绝不能再调用臃肿的 HAL_UART_Receive，而是进入死循环，直接去硬件底层抢数据。
          uint32_t empty_loops = 0;
          while (1)
          {
              // 直接读取底层寄存器，速度快于 115200 波特率百倍，绝不会发生丢帧！
        	  //__HAL_UART_GET_FLAG：读取串口硬件状态寄存器（SR/ISR）的指定标志位。
        	  //参数 UART_FLAG_RXNE：RX Not Empty（接收寄存器非空）。只要硬件接收引脚上收满了一个字节，这个标志位就会被硬件自动置 1（不等于 RESET）。
              if (__HAL_UART_GET_FLAG(&huart1, UART_FLAG_RXNE) != RESET)
              {
            	  //Instance 指向串口的硬件基地址，DR 是最底层的数据寄存器（Data Register）。
            	  //& 0x00FF 是为了屏蔽高 8 位，只取低 8 位有效数据。提取完后，顺手把超时计数器清零。
            	  //STM32 是一款 32 位的单片机。它的底层硬件寄存器（包括这个 DR 数据寄存器）在物理电路上都是 32 位的。
            	  //我们常用的串口通信（比如标准的 ASCII 码文本通信）每次传输的数据帧通常只有 8 位（1个字节）。
                  rx_byte = (uint8_t)(huart1.Instance->DR & 0x00FF);
                  empty_loops = 0; // 抓到数据，刷新超时计数

                  if (rx_byte == '\r' || rx_byte == '\n' || rx_byte == '#') {
                      break; // 收到结束符，完美跳出
                  }
                  else if (rx_byte >= 32 && rx_byte <= 126) {
                	  //判断是否会溢出
                      if (cmd_idx < sizeof(cmd_buffer) - 1) {
                          cmd_buffer[cmd_idx++] = rx_byte;
                      }
                  }
              }
              else
              {
                  // 约等待 2 毫秒。如果 2 毫秒都没新字来，说明这句指令结束了
            	  //以 115200 波特率算，传一个字只要 0.08 毫秒
                  empty_loops++;
                  if (empty_loops > 50000) {
                      break;
                  }
              }

              // 顺手防御底层的意外硬件溢出
              //在底层狂飙时，如果有瞬间的电磁脉冲导致硬件塞车报错（ORE 标志置位），利用 __HAL_UART_CLEAR_OREFLAG 顺手把它清掉，确保下一次接收正常。
              if (__HAL_UART_GET_FLAG(&huart1, UART_FLAG_ORE) != RESET) {
                  __HAL_UART_CLEAR_OREFLAG(&huart1);
              }
          }

          // 5. 完整抓取完毕，执行解析
          if (cmd_idx > 0)
          {
              cmd_buffer[cmd_idx] = '\0';
              Debug_Printf("\r\n[Cmd Parsed]: %s\r\n", cmd_buffer);
              Cmd_Parse(cmd_buffer);
          }
      }
      else
      {	//这个 else 对应的是最外层 HAL_UART_Receive 返回非 HAL_OK 的情况。
          // 6. ：一旦报错，彻底解锁 HAL 库，按键永不死机！
          __HAL_UART_CLEAR_OREFLAG(&huart1);
          huart1.Lock = HAL_UNLOCKED;       // 这句是解救按键的钥匙！
          huart1.ErrorCode = HAL_UART_ERROR_NONE;
          huart1.RxState = HAL_UART_STATE_READY;
          osDelay(5);
      }
  }
}
#if 0
void StartSensorTask(void const * argument)
{
    SensorData_t data;
    for(;;)
    {
        // 模拟数据
        data.temperature = 25.0;
        data.humidity = 60.0;
        data.smoke = 0.12;
        data.timestamp = xTaskGetTickCount();
        Debug_Printf("SensorTask: T=%.1f H=%.1f S=%.2f\r\n", data.temperature, data.humidity, data.smoke);
        xQueueSend(xSensorQueue, &data, 0);
        osDelay(2000);
    }
}
#endif
/* USER CODE END Application */
